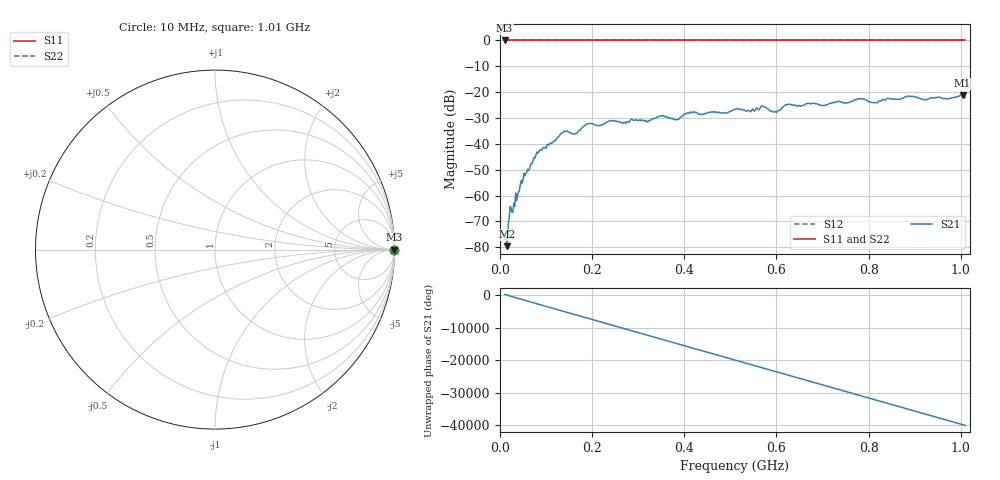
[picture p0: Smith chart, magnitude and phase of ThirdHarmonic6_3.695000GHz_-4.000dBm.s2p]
! 8/17/2025 12:32:36 PM
! C:\ANRITSUVNA\TEMP\TEMP.S2P
! CHANNEL.1
! TR.MEASUREMENT
! RAW.DATA
! RF.CORRECTION.OFF
! AVERAGING.OFF
! IF.BANDWIDTH: 5KHZ
! SWEEPTYPE:  FREQ.SWEEP(Linear)
! Reference Plane Port Info
! PORT:  PORT1  PORT2
! DISTANCE:  0  m  0  m
! TIME:  0  s  0  s
! PHASE.OFFSET:  0  deg.  0  deg.
! LOSS:  0  dB  0  dB
! REF.LOSS:  0  dB  0  dB
! REF.FREQ:  0  Hz  0  Hz
! Power Info
! POWER:  -20  dBm  -20  dBm
! EFF.POWER:  -20  dBm  -20  dBm
! SOURCE.ATTEN:  0  dB  0  dB
! TEST.ATTEN:  0  dB  0  dB
# GHZ S RI R 50.0
! FREQ.GHZ  S11RE  S11IM  S21RE  S21IM  S12RE  S12IM  S22RE  S22IM
!; PortSelection: Port_12
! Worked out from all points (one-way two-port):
!   501 points, 10 MHz to 1.01 GHz, reference 50 ohm
!   highest |S21| = -21.26 dB at 1.004 GHz (marker M1); lowest = -79.6 dB at 16 MHz (marker M2)
!   lowest |S11| = 0.0 dB at 10 MHz (marker M3)
!   |S11| at or under -10 dB: nowhere
!   |S22| runs from 0.0 to 0.0 dB; largest |S21 - S12| = 1.1
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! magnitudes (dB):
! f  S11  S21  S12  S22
! 10 MHz  0.0  -76.8  0.0  0.0
! 12 MHz  0.0  -74.6  0.0  0.0
! 16 MHz  0.0  -79.6  0.0  0.0
! 22 MHz  0.0  -64.2  0.0  0.0
! 48 MHz  0.0  -55.3  0.0  0.0
! 82 MHz  0.0  -43.5  0.0  0.0
! 136 MHz  0.0  -35.7  0.0  0.0
! 162 MHz  0.0  -36.2  0.0  0.0
! 178 MHz  0.0  -33.7  0.0  0.0
! 194 MHz  0.0  -32.2  0.0  0.0
! 322 MHz  0.0  -31.2  0.0  0.0
! 344 MHz  0.0  -29.6  0.0  0.0
! 384 MHz  0.0  -30.6  0.0  0.0
! 410 MHz  0.0  -28.3  0.0  0.0
! 510 MHz  0.0  -26.6  0.0  0.0
! 572 MHz  0.0  -25.6  0.0  0.0
! 598 MHz  0.0  -27.5  0.0  0.0
! 624 MHz  0.0  -24.8  0.0  0.0
! 678 MHz  0.0  -24.3  0.0  0.0
! 844 MHz  0.0  -22.5  0.0  0.0
! 1.004 GHz  0.0  -21.3  0.0  0.0
! 1.01 GHz  0.0  -21.9  0.0  0.0
